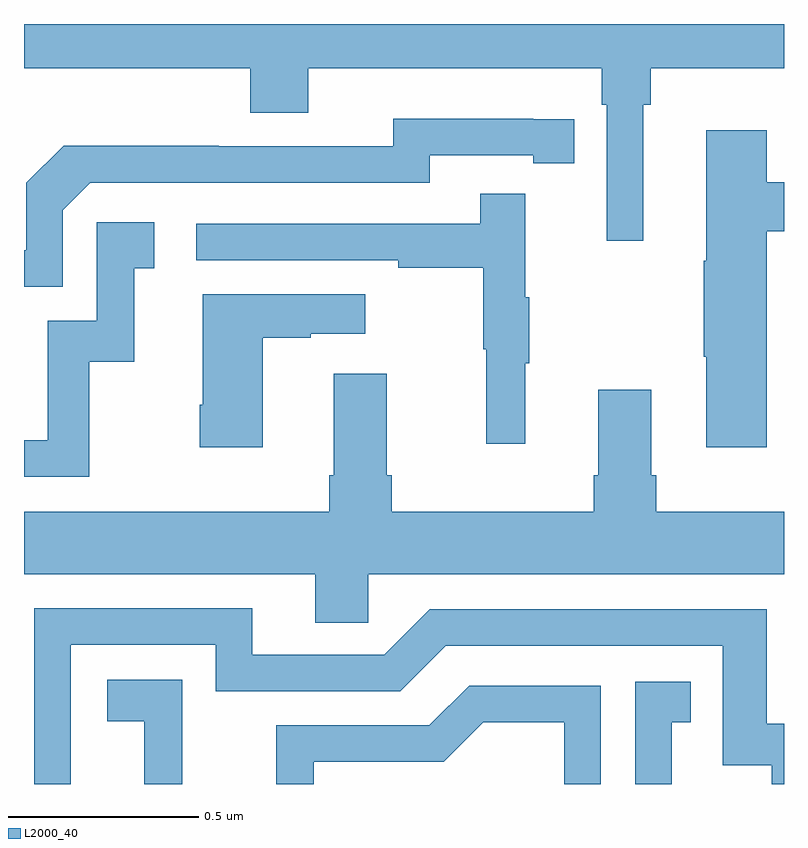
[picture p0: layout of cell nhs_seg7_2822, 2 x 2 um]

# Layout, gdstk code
import gdstk
lib = gdstk.Library(unit=1e-6, precision=1e-09)
def P(c, l, *ps):  # polygons
    for p in ps: c.add(gdstk.Polygon(p, *l))
L2000_40 = (2000, 40)

nhs_seg7_2822 = lib.new_cell('nhs_seg7_2822')
P(nhs_seg7_2822, L2000_40, [(151.63,1065.788),(151.649,1065.788),(151.649,1065.884),(152,1065.884),(152,1066),(150,1066),(150,1065.884),(150.596,1065.884),(150.596,1065.767),(150.748,1065.767),(150.748,1065.884),(151.52,1065.884),(151.52,1065.788),(151.533,1065.788),(151.533,1065.429),(151.63,1065.429)],
  [(150.102,1065.51),(150.174,1065.582),(151.068,1065.582),(151.068,1065.654),(151.34,1065.654),(151.34,1065.634),(151.448,1065.634),(151.448,1065.75),(151.34,1065.75),(151.34,1065.751),(150.972,1065.751),(150.972,1065.678),(150.512,1065.678),(150.512,1065.68),(150.104,1065.68),(150.006,1065.582),(150.006,1065.405),(150,1065.405),(150,1065.309),(150.102,1065.309)],
  [(151.955,1065.454),(152,1065.454),(152,1065.583),(151.955,1065.583),(151.955,1065.721),(151.796,1065.721),(151.796,1065.377),(151.789,1065.377),(151.789,1065.124),(151.796,1065.124),(151.796,1064.886),(151.955,1064.886)],
  [(151.319,1065.107),(151.33,1065.107),(151.33,1065.281),(151.319,1065.281),(151.319,1065.553),(151.201,1065.553),(151.201,1065.474),(150.453,1065.474),(150.453,1065.378),(150.985,1065.378),(150.985,1065.358),(151.209,1065.358),(151.209,1065.144),(151.216,1065.144),(151.216,1064.895),(151.319,1064.895)],
  [(150.172,1065.111),(150.29,1065.111),(150.29,1065.357),(150.343,1065.357),(150.343,1065.478),(150.192,1065.478),(150.192,1065.219),(150.063,1065.219),(150.063,1064.904),(150,1064.904),(150,1064.808),(150.172,1064.808)],
  [(150.628,1065.175),(150.755,1065.175),(150.755,1065.185),(150.898,1065.185),(150.898,1065.289),(150.47,1065.289),(150.47,1064.998),(150.463,1064.998),(150.463,1064.886),(150.628,1064.886)],
  [(150.906,1064.552),(152,1064.552),(152,1064.716),(151.664,1064.716),(151.664,1064.812),(151.651,1064.812),(151.651,1065.037),(151.511,1065.037),(151.511,1064.812),(151.499,1064.812),(151.499,1064.716),(150.968,1064.716),(150.968,1064.812),(150.955,1064.812),(150.955,1065.079),(150.815,1065.079),(150.815,1064.812),(150.803,1064.812),(150.803,1064.716),(150,1064.716),(150,1064.552),(150.767,1064.552),(150.767,1064.425),(150.906,1064.425)],
  [(150.123,1064.367),(150.504,1064.367),(150.504,1064.244),(150.99,1064.244),(151.11,1064.364),(151.839,1064.364),(151.839,1064.049),(151.968,1064.049),(151.968,1064),(152,1064),(152,1064.158),(151.955,1064.158),(151.955,1064.46),(151.068,1064.46),(150.948,1064.34),(150.601,1064.34),(150.601,1064.463),(150.027,1064.463),(150.027,1064),(150.123,1064)],
  [(150.416,1064.069),(150.417,1064.069),(150.417,1064.275),(150.219,1064.275),(150.219,1064.165),(150.317,1064.165),(150.317,1064),(150.416,1064)],
  [(151.705,1064.163),(151.754,1064.163),(151.754,1064.269),(151.608,1064.269),(151.608,1064),(151.705,1064)],
  [(150.762,1064.058),(151.104,1064.058),(151.208,1064.162),(151.422,1064.162),(151.422,1064),(151.518,1064),(151.518,1064.259),(151.172,1064.259),(151.067,1064.154),(150.664,1064.154),(150.664,1064),(150.762,1064)])

lib.write_gds('nhs_seg7_2822.gds')
